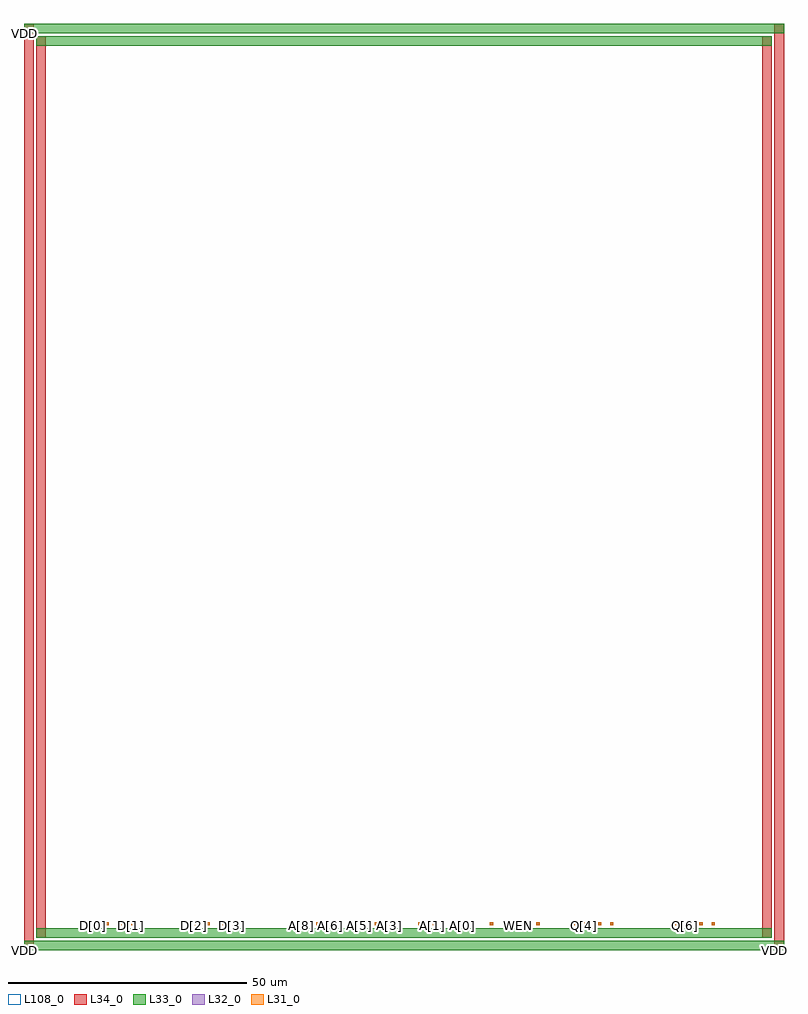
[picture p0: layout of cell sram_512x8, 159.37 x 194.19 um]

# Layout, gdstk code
import gdstk
lib = gdstk.Library(unit=1e-6, precision=1e-09)
def R(c, l, rs):  # rectangles x0, y0, x1, y1
    for r in rs: c.add(gdstk.rectangle(r[:2], r[2:], *l))
L31_0 = (31, 0)
L32_0 = (32, 0)
L33_0 = (33, 0)
L34_0 = (34, 0)
L108_0 = (108, 0)

sram_512x8 = lib.new_cell('sram_512x8')
R(sram_512x8, L31_0, [(14.48,5.2,15.14,5.86), (17.06,5.2,17.72,5.86), (19.94,5.2,20.6,5.86), (22.52,5.2,23.18,5.86), (35.76,5.2,36.42,5.86), (38.34,5.2,39,5.86), (41.22,5.2,41.88,5.86), (43.8,5.2,44.46,5.86), (58.18,5.2,58.84,5.86), (61.28,5.2,61.94,5.86), (64.3,5.2,64.96,5.86), (70.42,5.2,71.08,5.86), (73.52,5.2,74.18,5.86), (76.54,5.2,77.2,5.86), (82.66,5.2,83.32,5.86), (85.76,5.2,86.42,5.86), (91.88,5.2,92.54,5.86), (97.695,5.2,98.355,5.86), (103.74,5.2,104.4,5.86), (107.44,5.2,108.1,5.86), (114.905,5.2,115.565,5.86), (117.485,5.2,118.145,5.86), (120.365,5.2,121.025,5.86), (122.945,5.2,123.605,5.86), (136.185,5.2,136.845,5.86), (138.765,5.2,139.425,5.86), (141.645,5.2,142.305,5.86), (144.225,5.2,144.885,5.86)])
R(sram_512x8, L32_0, [(14.48,5.2,15.14,5.86), (17.06,5.2,17.72,5.86), (19.94,5.2,20.6,5.86), (22.52,5.2,23.18,5.86), (35.76,5.2,36.42,5.86), (38.34,5.2,39,5.86), (41.22,5.2,41.88,5.86), (43.8,5.2,44.46,5.86), (58.18,5.2,58.84,5.86), (61.28,5.2,61.94,5.86), (64.3,5.2,64.96,5.86), (70.42,5.2,71.08,5.86), (73.52,5.2,74.18,5.86), (76.54,5.2,77.2,5.86), (82.66,5.2,83.32,5.86), (85.76,5.2,86.42,5.86), (91.88,5.2,92.54,5.86), (97.695,5.2,98.355,5.86), (103.74,5.2,104.4,5.86), (107.44,5.2,108.1,5.86), (114.905,5.2,115.565,5.86), (117.485,5.2,118.145,5.86), (120.365,5.2,121.025,5.86), (122.945,5.2,123.605,5.86), (136.185,5.2,136.845,5.86), (138.765,5.2,139.425,5.86), (141.645,5.2,142.305,5.86), (144.225,5.2,144.885,5.86)])
R(sram_512x8, L33_0, [(0,0,159.365,2), (2.6,2.6,156.765,4.6), (14.48,5.2,15.14,5.86), (17.06,5.2,17.72,5.86), (19.94,5.2,20.6,5.86), (22.52,5.2,23.18,5.86), (35.76,5.2,36.42,5.86), (38.34,5.2,39,5.86), (41.22,5.2,41.88,5.86), (43.8,5.2,44.46,5.86), (58.18,5.2,58.84,5.86), (61.28,5.2,61.94,5.86), (64.3,5.2,64.96,5.86), (70.42,5.2,71.08,5.86), (73.52,5.2,74.18,5.86), (76.54,5.2,77.2,5.86), (82.66,5.2,83.32,5.86), (85.76,5.2,86.42,5.86), (91.88,5.2,92.54,5.86), (97.695,5.2,98.355,5.86), (103.74,5.2,104.4,5.86), (107.44,5.2,108.1,5.86), (114.905,5.2,115.565,5.86), (117.485,5.2,118.145,5.86), (120.365,5.2,121.025,5.86), (122.945,5.2,123.605,5.86), (136.185,5.2,136.845,5.86), (138.765,5.2,139.425,5.86), (141.645,5.2,142.305,5.86), (144.225,5.2,144.885,5.86), (2.6,189.595,156.765,191.595), (0,192.195,159.365,194.195)])
R(sram_512x8, L34_0, [(0,0,2,194.195), (157.365,0,159.365,194.195), (2.6,2.6,4.6,191.595), (154.765,2.6,156.765,191.595), (14.48,5.2,15.14,5.86), (17.06,5.2,17.72,5.86), (19.94,5.2,20.6,5.86), (22.52,5.2,23.18,5.86), (35.76,5.2,36.42,5.86), (38.34,5.2,39,5.86), (41.22,5.2,41.88,5.86), (43.8,5.2,44.46,5.86), (58.18,5.2,58.84,5.86), (61.28,5.2,61.94,5.86), (64.3,5.2,64.96,5.86), (70.42,5.2,71.08,5.86), (73.52,5.2,74.18,5.86), (76.54,5.2,77.2,5.86), (82.66,5.2,83.32,5.86), (85.76,5.2,86.42,5.86), (91.88,5.2,92.54,5.86), (97.695,5.2,98.355,5.86), (103.74,5.2,104.4,5.86), (107.44,5.2,108.1,5.86), (114.905,5.2,115.565,5.86), (117.485,5.2,118.145,5.86), (120.365,5.2,121.025,5.86), (122.945,5.2,123.605,5.86), (136.185,5.2,136.845,5.86), (138.765,5.2,139.425,5.86), (141.645,5.2,142.305,5.86), (144.225,5.2,144.885,5.86)])
R(sram_512x8, L108_0, [(0,0,159.365,194.195)])
sram_512x8.add(gdstk.Label('Q[4]', (117.485,5.2), layer=133, texttype=0))
sram_512x8.add(gdstk.Label('Q[4]', (117.485,5.2), layer=132, texttype=0))
sram_512x8.add(gdstk.Label('Q[4]', (117.485,5.2), layer=131, texttype=0))
sram_512x8.add(gdstk.Label('Q[5]', (120.365,5.2), layer=134, texttype=0))
sram_512x8.add(gdstk.Label('Q[5]', (120.365,5.2), layer=133, texttype=0))
sram_512x8.add(gdstk.Label('Q[5]', (120.365,5.2), layer=132, texttype=0))
sram_512x8.add(gdstk.Label('Q[5]', (120.365,5.2), layer=131, texttype=0))
sram_512x8.add(gdstk.Label('Q[6]', (138.765,5.2), layer=134, texttype=0))
sram_512x8.add(gdstk.Label('Q[6]', (138.765,5.2), layer=133, texttype=0))
sram_512x8.add(gdstk.Label('Q[6]', (138.765,5.2), layer=132, texttype=0))
sram_512x8.add(gdstk.Label('Q[6]', (138.765,5.2), layer=131, texttype=0))
sram_512x8.add(gdstk.Label('Q[7]', (141.645,5.2), layer=134, texttype=0))
sram_512x8.add(gdstk.Label('Q[7]', (141.645,5.2), layer=133, texttype=0))
sram_512x8.add(gdstk.Label('Q[7]', (141.645,5.2), layer=132, texttype=0))
sram_512x8.add(gdstk.Label('Q[7]', (141.645,5.2), layer=131, texttype=0))
sram_512x8.add(gdstk.Label('WEN', (103.74,5.2), layer=134, texttype=0))
sram_512x8.add(gdstk.Label('WEN', (103.74,5.2), layer=133, texttype=0))
sram_512x8.add(gdstk.Label('WEN', (103.74,5.2), layer=132, texttype=0))
sram_512x8.add(gdstk.Label('WEN', (103.74,5.2), layer=131, texttype=0))
sram_512x8.add(gdstk.Label('VDD', (0,0), layer=134, texttype=0))
sram_512x8.add(gdstk.Label('VDD', (157.365,0), layer=134, texttype=0))
sram_512x8.add(gdstk.Label('VDD', (0,0), layer=133, texttype=0))
sram_512x8.add(gdstk.Label('VDD', (0,192.195), layer=133, texttype=0))
sram_512x8.add(gdstk.Label('VSS', (2.6,2.6), layer=134, texttype=0))
sram_512x8.add(gdstk.Label('VSS', (154.765,2.6), layer=134, texttype=0))
sram_512x8.add(gdstk.Label('VSS', (2.6,2.6), layer=133, texttype=0))
sram_512x8.add(gdstk.Label('VSS', (2.6,189.595), layer=133, texttype=0))
sram_512x8.add(gdstk.Label('A[0]', (91.88,5.2), layer=134, texttype=0))
sram_512x8.add(gdstk.Label('A[0]', (91.88,5.2), layer=133, texttype=0))
sram_512x8.add(gdstk.Label('A[0]', (91.88,5.2), layer=132, texttype=0))
sram_512x8.add(gdstk.Label('A[0]', (91.88,5.2), layer=131, texttype=0))
sram_512x8.add(gdstk.Label('A[1]', (85.76,5.2), layer=134, texttype=0))
sram_512x8.add(gdstk.Label('A[1]', (85.76,5.2), layer=133, texttype=0))
sram_512x8.add(gdstk.Label('A[1]', (85.76,5.2), layer=132, texttype=0))
sram_512x8.add(gdstk.Label('A[1]', (85.76,5.2), layer=131, texttype=0))
sram_512x8.add(gdstk.Label('A[2]', (82.66,5.2), layer=134, texttype=0))
sram_512x8.add(gdstk.Label('A[2]', (82.66,5.2), layer=133, texttype=0))
sram_512x8.add(gdstk.Label('A[2]', (82.66,5.2), layer=132, texttype=0))
sram_512x8.add(gdstk.Label('A[2]', (82.66,5.2), layer=131, texttype=0))
sram_512x8.add(gdstk.Label('A[3]', (76.54,5.2), layer=134, texttype=0))
sram_512x8.add(gdstk.Label('A[3]', (76.54,5.2), layer=133, texttype=0))
sram_512x8.add(gdstk.Label('A[3]', (76.54,5.2), layer=132, texttype=0))
sram_512x8.add(gdstk.Label('A[3]', (76.54,5.2), layer=131, texttype=0))
sram_512x8.add(gdstk.Label('A[4]', (73.52,5.2), layer=134, texttype=0))
sram_512x8.add(gdstk.Label('A[4]', (73.52,5.2), layer=133, texttype=0))
sram_512x8.add(gdstk.Label('A[4]', (73.52,5.2), layer=132, texttype=0))
sram_512x8.add(gdstk.Label('A[4]', (73.52,5.2), layer=131, texttype=0))
sram_512x8.add(gdstk.Label('A[5]', (70.42,5.2), layer=134, texttype=0))
sram_512x8.add(gdstk.Label('A[5]', (70.42,5.2), layer=133, texttype=0))
sram_512x8.add(gdstk.Label('A[5]', (70.42,5.2), layer=132, texttype=0))
sram_512x8.add(gdstk.Label('A[5]', (70.42,5.2), layer=131, texttype=0))
sram_512x8.add(gdstk.Label('A[6]', (64.3,5.2), layer=134, texttype=0))
sram_512x8.add(gdstk.Label('A[6]', (64.3,5.2), layer=133, texttype=0))
sram_512x8.add(gdstk.Label('A[6]', (64.3,5.2), layer=132, texttype=0))
sram_512x8.add(gdstk.Label('A[6]', (64.3,5.2), layer=131, texttype=0))
sram_512x8.add(gdstk.Label('A[7]', (61.28,5.2), layer=134, texttype=0))
sram_512x8.add(gdstk.Label('A[7]', (61.28,5.2), layer=133, texttype=0))
sram_512x8.add(gdstk.Label('A[7]', (61.28,5.2), layer=132, texttype=0))
sram_512x8.add(gdstk.Label('A[7]', (61.28,5.2), layer=131, texttype=0))
sram_512x8.add(gdstk.Label('A[8]', (58.18,5.2), layer=134, texttype=0))
sram_512x8.add(gdstk.Label('A[8]', (58.18,5.2), layer=133, texttype=0))
sram_512x8.add(gdstk.Label('A[8]', (58.18,5.2), layer=132, texttype=0))
sram_512x8.add(gdstk.Label('A[8]', (58.18,5.2), layer=131, texttype=0))
sram_512x8.add(gdstk.Label('CEN', (97.695,5.2), layer=134, texttype=0))
sram_512x8.add(gdstk.Label('CEN', (97.695,5.2), layer=133, texttype=0))
sram_512x8.add(gdstk.Label('CEN', (97.695,5.2), layer=132, texttype=0))
sram_512x8.add(gdstk.Label('CEN', (97.695,5.2), layer=131, texttype=0))
sram_512x8.add(gdstk.Label('CLK', (107.44,5.2), layer=134, texttype=0))
sram_512x8.add(gdstk.Label('CLK', (107.44,5.2), layer=133, texttype=0))
sram_512x8.add(gdstk.Label('CLK', (107.44,5.2), layer=132, texttype=0))
sram_512x8.add(gdstk.Label('CLK', (107.44,5.2), layer=131, texttype=0))
sram_512x8.add(gdstk.Label('D[0]', (14.48,5.2), layer=134, texttype=0))
sram_512x8.add(gdstk.Label('D[0]', (14.48,5.2), layer=133, texttype=0))
sram_512x8.add(gdstk.Label('D[0]', (14.48,5.2), layer=132, texttype=0))
sram_512x8.add(gdstk.Label('D[0]', (14.48,5.2), layer=131, texttype=0))
sram_512x8.add(gdstk.Label('D[1]', (22.52,5.2), layer=134, texttype=0))
sram_512x8.add(gdstk.Label('D[1]', (22.52,5.2), layer=133, texttype=0))
sram_512x8.add(gdstk.Label('D[1]', (22.52,5.2), layer=132, texttype=0))
sram_512x8.add(gdstk.Label('D[1]', (22.52,5.2), layer=131, texttype=0))
sram_512x8.add(gdstk.Label('D[2]', (35.76,5.2), layer=134, texttype=0))
sram_512x8.add(gdstk.Label('D[2]', (35.76,5.2), layer=133, texttype=0))
sram_512x8.add(gdstk.Label('D[2]', (35.76,5.2), layer=132, texttype=0))
sram_512x8.add(gdstk.Label('D[2]', (35.76,5.2), layer=131, texttype=0))
sram_512x8.add(gdstk.Label('D[3]', (43.8,5.2), layer=134, texttype=0))
sram_512x8.add(gdstk.Label('D[3]', (43.8,5.2), layer=133, texttype=0))
sram_512x8.add(gdstk.Label('D[3]', (43.8,5.2), layer=132, texttype=0))
sram_512x8.add(gdstk.Label('D[3]', (43.8,5.2), layer=131, texttype=0))
sram_512x8.add(gdstk.Label('D[4]', (114.905,5.2), layer=134, texttype=0))
sram_512x8.add(gdstk.Label('D[4]', (114.905,5.2), layer=133, texttype=0))
sram_512x8.add(gdstk.Label('D[4]', (114.905,5.2), layer=132, texttype=0))
sram_512x8.add(gdstk.Label('D[4]', (114.905,5.2), layer=131, texttype=0))
sram_512x8.add(gdstk.Label('D[5]', (122.945,5.2), layer=134, texttype=0))
sram_512x8.add(gdstk.Label('D[5]', (122.945,5.2), layer=133, texttype=0))
sram_512x8.add(gdstk.Label('D[5]', (122.945,5.2), layer=132, texttype=0))
sram_512x8.add(gdstk.Label('D[5]', (122.945,5.2), layer=131, texttype=0))
sram_512x8.add(gdstk.Label('D[6]', (136.185,5.2), layer=134, texttype=0))
sram_512x8.add(gdstk.Label('D[6]', (136.185,5.2), layer=133, texttype=0))
sram_512x8.add(gdstk.Label('D[6]', (136.185,5.2), layer=132, texttype=0))
sram_512x8.add(gdstk.Label('D[6]', (136.185,5.2), layer=131, texttype=0))
sram_512x8.add(gdstk.Label('D[7]', (144.225,5.2), layer=134, texttype=0))
sram_512x8.add(gdstk.Label('D[7]', (144.225,5.2), layer=133, texttype=0))
sram_512x8.add(gdstk.Label('D[7]', (144.225,5.2), layer=132, texttype=0))
sram_512x8.add(gdstk.Label('D[7]', (144.225,5.2), layer=131, texttype=0))
sram_512x8.add(gdstk.Label('Q[0]', (17.06,5.2), layer=134, texttype=0))
sram_512x8.add(gdstk.Label('Q[0]', (17.06,5.2), layer=133, texttype=0))
sram_512x8.add(gdstk.Label('Q[0]', (17.06,5.2), layer=132, texttype=0))
sram_512x8.add(gdstk.Label('Q[0]', (17.06,5.2), layer=131, texttype=0))
sram_512x8.add(gdstk.Label('Q[1]', (19.94,5.2), layer=134, texttype=0))
sram_512x8.add(gdstk.Label('Q[1]', (19.94,5.2), layer=133, texttype=0))
sram_512x8.add(gdstk.Label('Q[1]', (19.94,5.2), layer=132, texttype=0))
sram_512x8.add(gdstk.Label('Q[1]', (19.94,5.2), layer=131, texttype=0))
sram_512x8.add(gdstk.Label('Q[2]', (38.34,5.2), layer=134, texttype=0))
sram_512x8.add(gdstk.Label('Q[2]', (38.34,5.2), layer=133, texttype=0))
sram_512x8.add(gdstk.Label('Q[2]', (38.34,5.2), layer=132, texttype=0))
sram_512x8.add(gdstk.Label('Q[2]', (38.34,5.2), layer=131, texttype=0))
sram_512x8.add(gdstk.Label('Q[3]', (41.22,5.2), layer=134, texttype=0))
sram_512x8.add(gdstk.Label('Q[3]', (41.22,5.2), layer=133, texttype=0))
sram_512x8.add(gdstk.Label('Q[3]', (41.22,5.2), layer=132, texttype=0))
sram_512x8.add(gdstk.Label('Q[3]', (41.22,5.2), layer=131, texttype=0))
sram_512x8.add(gdstk.Label('Q[4]', (117.485,5.2), layer=134, texttype=0))

lib.write_gds('sram_512x8.gds')
